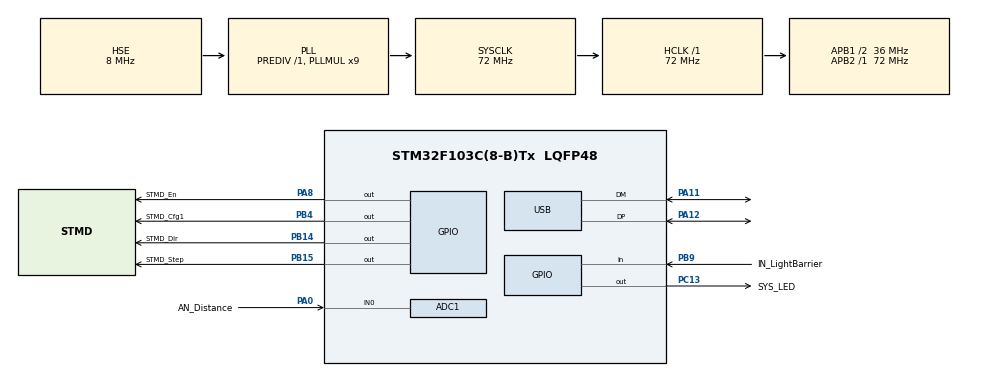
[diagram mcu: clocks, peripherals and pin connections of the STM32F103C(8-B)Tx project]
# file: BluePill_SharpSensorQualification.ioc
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ADC1.Channel-54\#ChannelRegularConversion=ADC_CHANNEL_0
ADC1.ContinuousConvMode=DISABLE
ADC1.DataAlign=ADC_DATAALIGN_RIGHT
ADC1.DiscontinuousConvMode=DISABLE
ADC1.EnableAnalogWatchDog=false
ADC1.EnableRegularConversion=ENABLE
ADC1.ExternalTrigConv=ADC_EXTERNALTRIGCONV_T3_TRGO
ADC1.InjNumberOfConversion=0
ADC1.NbrOfConversion=1
ADC1.NbrOfConversionFlag=1
ADC1.Rank-54\#ChannelRegularConversion=1
ADC1.SamplingTime-54\#ChannelRegularConversion=ADC_SAMPLETIME_1CYCLE_5
ADC1.ScanConvMode=ADC_SCAN_DISABLE
ADC1.master=1
Dma.ADC1.0.Direction=DMA_PERIPH_TO_MEMORY
Dma.ADC1.0.Instance=DMA1_Channel1
Dma.ADC1.0.MemDataAlignment=DMA_MDATAALIGN_HALFWORD
Dma.ADC1.0.MemInc=DMA_MINC_ENABLE
Dma.ADC1.0.Mode=DMA_NORMAL
Dma.ADC1.0.PeriphDataAlignment=DMA_PDATAALIGN_HALFWORD
Dma.ADC1.0.PeriphInc=DMA_PINC_DISABLE
Dma.ADC1.0.Priority=DMA_PRIORITY_HIGH
Dma.Request0=ADC1
FREERTOS.INCLUDE_vTaskDelayUntil=1
FREERTOS.Queues01=xQSensorToMain,3,T_MQ_Command,0,Dynamic,NULL,NULL;xQMainToSTMD,3,T_MQ_Command,0,Dynamic,NULL,NULL;xQSTMDToMain,3,T_MQ_Command,0,Dynamic,NULL,NULL;xQMainToCOM,3,T_MQ_Command,0,Dynamic,NULL,NULL;xQCOMToMain,3,T_MQ_Command,0,Dynamic,NULL,NULL
FREERTOS.Tasks01=Main_Task,0,1024,MainTaskWork,Default,NULL,Dynamic,NULL,NULL;COM_Task,0,512,COMTaskWork,Default,NULL,Dynamic,NULL,NULL;SMTD_Task,0,256,SMTDWork,Default,NULL,Dynamic,NULL,NULL
FREERTOS.configTOTAL_HEAP_SIZE=9216
Mcu.Family=STM32F1
Mcu.Name=STM32F103C(8-B)Tx
Mcu.Package=LQFP48
NVIC.DMA1_Channel1_IRQn=true\:5\:0\:false\:false\:true\:true\:false
NVIC.PriorityGroup=NVIC_PRIORITYGROUP_4
NVIC.TIM1_UP_IRQn=true\:0\:0\:false\:false\:true\:false\:false
NVIC.TIM3_IRQn=true\:5\:0\:false\:false\:true\:true\:true
NVIC.TimeBase=TIM1_UP_IRQn
NVIC.TimeBaseIP=TIM1
NVIC.USB_LP_CAN1_RX0_IRQn=true\:5\:0\:false\:false\:true\:true\:false
PA0-WKUP.GPIO_Label=AN_Distance
PA0-WKUP.Signal=ADCx_IN0
PA11.Mode=Device
PA11.Signal=USB_DM
PA12.Mode=Device
PA12.Signal=USB_DP
PA13.Mode=Serial_Wire
PA13.Signal=SYS_JTMS-SWDIO
PA14.Mode=Serial_Wire
PA14.Signal=SYS_JTCK-SWCLK
PA8.GPIO_Label=STMD_En
PA8.PinState=GPIO_PIN_SET
PA8.Signal=GPIO_Output
PB14.GPIO_Label=STMD_Dir
PB14.Signal=GPIO_Output
PB15.GPIO_Label=STMD_Step
PB15.Signal=GPIO_Output
PB4.GPIO_Label=STMD_Cfg1
PB4.Signal=GPIO_Output
PB9.GPIO_Label=IN_LightBarrier
PB9.Signal=GPIO_Input
PC13-TAMPER-RTC.GPIO_Label=SYS_LED
PC13-TAMPER-RTC.PinState=GPIO_PIN_SET
PC13-TAMPER-RTC.Signal=GPIO_Output
PC14-OSC32_IN.Mode=LSE-External-Oscillator
PC14-OSC32_IN.Signal=RCC_OSC32_IN
PC15-OSC32_OUT.Mode=LSE-External-Oscillator
PC15-OSC32_OUT.Signal=RCC_OSC32_OUT
PD0-OSC_IN.Mode=HSE-External-Oscillator
PD0-OSC_IN.Signal=RCC_OSC_IN
PD1-OSC_OUT.Mode=HSE-External-Oscillator
PD1-OSC_OUT.Signal=RCC_OSC_OUT
ProjectManager.HeapSize=0x200
ProjectManager.StackSize=0x400
ProjectManager.TargetToolchain=SW4STM32
RCC.ADCPresc=RCC_ADCPCLK2_DIV6
RCC.AHBFreq_Value=72000000
RCC.APB1CLKDivider=RCC_HCLK_DIV2
RCC.APB1Freq_Value=36000000
RCC.APB1TimFreq_Value=72000000
RCC.APB2Freq_Value=72000000
RCC.APB2TimFreq_Value=72000000
RCC.HCLKFreq_Value=72000000
RCC.PLLMUL=RCC_PLL_MUL9
RCC.SYSCLKFreq_VALUE=72000000
RCC.SYSCLKSource=RCC_SYSCLKSOURCE_PLLCLK
RCC.USBFreq_Value=48000000
RCC.USBPrescaler=RCC_USBCLKSOURCE_PLL_DIV1_5
SH.ADCx_IN0.0=ADC1_IN0,IN0
TIM3.Period=36000
TIM3.Prescaler=2
TIM3.TIM_MasterOutputTrigger=TIM_TRGO_UPDATE
USB_DEVICE.CLASS_NAME_FS=CDC
USB_DEVICE.VirtualMode=Cdc
USB_DEVICE.VirtualModeFS=Cdc_FS
VP_FREERTOS_VS_ENABLE.Mode=Enabled
VP_SYS_VS_tim1.Mode=TIM1
VP_TIM3_VS_ClockSourceINT.Mode=Internal
VP_USB_DEVICE_VS_USB_DEVICE_CDC_FS.Mode=CDC_FS
board=custom

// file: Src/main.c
/**
  ******************************************************************************
  * @file           : main.c
  * @brief          : Main program body
  ******************************************************************************
  * This notice applies to any and all portions of this file
  * that are not between comment pairs USER CODE BEGIN and
  * USER CODE END. Other portions of this file, whether
  * inserted by the user or by software development tools
  * are owned by their respective copyright owners.
  *
  * Copyright (c) 2018 STMicroelectronics International N.V.
  * All rights reserved.
  *
  * Redistribution and use in source and binary forms, with or without
  * modification, are permitted, provided that the following conditions are met:
  *
  * 1. Redistribution of source code must retain the above copyright notice,
  *    this list of conditions and the following disclaimer.
  * 2. Redistributions in binary form must reproduce the above copyright notice,
  *    this list of conditions and the following disclaimer in the documentation
  *    and/or other materials provided with the distribution.
  * 3. Neither the name of STMicroelectronics nor the names of other
  *    contributors to this software may be used to endorse or promote products
  *    derived from this software without specific written permission.
  * 4. This software, including modifications and/or derivative works of this
  *    software, must execute solely and exclusively on microcontroller or
  *    microprocessor devices manufactured by or for STMicroelectronics.
  * 5. Redistribution and use of this software other than as permitted under
  *    this license is void and will automatically terminate your rights under
  *    this license.
  *
  * THIS SOFTWARE IS PROVIDED BY STMICROELECTRONICS AND CONTRIBUTORS "AS IS"
  * AND ANY EXPRESS, IMPLIED OR STATUTORY WARRANTIES, INCLUDING, BUT NOT
  * LIMITED TO, THE IMPLIED WARRANTIES OF MERCHANTABILITY, FITNESS FOR A
  * PARTICULAR PURPOSE AND NON-INFRINGEMENT OF THIRD PARTY INTELLECTUAL PROPERTY
  * RIGHTS ARE DISCLAIMED TO THE FULLEST EXTENT PERMITTED BY LAW. IN NO EVENT
  * SHALL STMICROELECTRONICS OR CONTRIBUTORS BE LIABLE FOR ANY DIRECT, INDIRECT,
  * INCIDENTAL, SPECIAL, EXEMPLARY, OR CONSEQUENTIAL DAMAGES (INCLUDING, BUT NOT
  * LIMITED TO, PROCUREMENT OF SUBSTITUTE GOODS OR SERVICES; LOSS OF USE, DATA,
  * OR PROFITS; OR BUSINESS INTERRUPTION) HOWEVER CAUSED AND ON ANY THEORY OF
  * LIABILITY, WHETHER IN CONTRACT, STRICT LIABILITY, OR TORT (INCLUDING
  * NEGLIGENCE OR OTHERWISE) ARISING IN ANY WAY OUT OF THE USE OF THIS SOFTWARE,
  * EVEN IF ADVISED OF THE POSSIBILITY OF SUCH DAMAGE.
  *
  ******************************************************************************
  */
#include "main.h"
#include "stm32f1xx_hal.h"
#include "cmsis_os.h"
#include "usb_device.h"

/* USER CODE BEGIN Includes */
#include "usbd_cdc_if.h"
//#include "STMDriver.h"
/* USER CODE END Includes */

ADC_HandleTypeDef hadc1;
DMA_HandleTypeDef hdma_adc1;

TIM_HandleTypeDef htim3;

osThreadId Main_TaskHandle;
osThreadId COM_TaskHandle;
osThreadId SMTD_TaskHandle;
osMessageQId xQSensorToMainHandle;
osMessageQId xQMainToSTMDHandle;
osMessageQId xQSTMDToMainHandle;
osMessageQId xQMainToCOMHandle;
osMessageQId xQCOMToMainHandle;

/* USER CODE BEGIN PV */
/* Private variables ---------------------------------------------------------*/
extern uint8_t received_data[100];
extern uint32_t received_data_size;
/* USER CODE END PV */

void SystemClock_Config(void);
static void MX_GPIO_Init(void);
static void MX_DMA_Init(void);
static void MX_ADC1_Init(void);
static void MX_TIM3_Init(void);
void MainTaskWork(void const * argument);
void COMTaskWork(void const * argument);
void SMTDWork(void const * argument);

/* USER CODE BEGIN PFP */
/* Private function prototypes -----------------------------------------------*/

/* USER CODE END PFP */

/* USER CODE BEGIN 0 */

#define ADCCONVERTEDVALUES_BUFFER_SIZE ((uint32_t) 100)     /* Size of array containing ADC converted values */
/* Variable containing ADC conversions results */
__IO uint16_t au16ADCValues[ADCCONVERTEDVALUES_BUFFER_SIZE];

/* definition of commands passed between tasks */
typedef enum eMQ_CommandList
{
	eCMD_None = 0,
	eCMD_Rejected,
	eCMD_Accepted,
	eCMD_PerformHoming,
	eCMD_StaticMeasurement,
	eCMD_FullScanMeasurement,
	eCMD_PartialScanMeasurement,
	eCMD_ContinousScanMeasurment,
	eCMD_SampleSensor,
	eCMD_SensorValueReady,
	eCMD_PerformStep,
	eCMD_MoveToAngle,
	eCMD_PrintSTMDConfig,
	eCMD_SetAngleResolution,
	eCMD_SetStepResolution,
	eCMD_LimitSwitchHit,
	eCMD_Abort,
	eCMD_StartTestMode
}T_MQ_CommandList;

/* structure to hold commands and their parameters which will be passed between tasks */
typedef struct strMQ_Command
{
	T_MQ_CommandList xMQ_Cmd;
	int32_t i32MQ_Cmd_ParamA;
	int32_t i32MQ_Cmd_ParamB;
	int32_t i32MQ_Cmd_ParamC;
}T_MQ_Command;

#define DIST_SENSOR_SAMPLING_CNT	100

#define LINBUFFSIZE		100
typedef struct strBuffer
{
	uint32_t au32Buffer[LINBUFFSIZE];
	uint16_t u16BufferWriteIdx;
	uint16_t u16BufferFree;
}T_LinearBuffer;

T_LinearBuffer xLinearBuffer_1;
T_LinearBuffer xLinearBuffer_2;
T_LinearBuffer * pxLinearBufferActive;
T_LinearBuffer * pxLinearBufferReadyForTx;

void LinearBufferFlush(T_LinearBuffer * pxLinBuff)
{
	/* preset buffer with zeros */
	for(pxLinBuff->u16BufferWriteIdx=0;pxLinBuff->u16BufferWriteIdx<LINBUFFSIZE;pxLinBuff->u16BufferWriteIdx++)
	{
		pxLinBuff->au32Buffer[pxLinBuff->u16BufferWriteIdx] = 0;
	}

	/* preset variables */
	pxLinBuff->u16BufferFree = LINBUFFSIZE;
	pxLinBuff->u16BufferWriteIdx = 0;
}

uint8_t u08LinearBufferPush(T_LinearBuffer * pxLinBuff, uint32_t u32Value)
{
	if(0 < pxLinBuff->u16BufferFree)
	{
		pxLinBuff->au32Buffer[pxLinBuff->u16BufferWriteIdx] = u32Value;
		pxLinBuff->u16BufferWriteIdx++;
		pxLinBuff->u16BufferFree--;
		return 1;
	}
	else
	{
		return 0;
	}
}

void Init_Linear_Buffers(void)
{
	/* flush linear buffers */
	LinearBufferFlush(&xLinearBuffer_1);
	LinearBufferFlush(&xLinearBuffer_2);
	/* assign linear buffer pointer */
	pxLinearBufferActive = & xLinearBuffer_1;
	pxLinearBufferReadyForTx = 0;
}

typedef enum eSystemMode
{
	eSysMode_StartUp = 0,
	eSysMode_Idle,
	eSysMode_Tx,
	eSysMode_FullScan,
	eSysMode_PartialScan,
	eSysMode_ContinousScan,
	eSysMode_StaticScan,
	eSysMode_Homing,
	eSysMode_MoveToAngle,
	eSysMode_TestMode
}T_System_Mode;

T_System_Mode xSysMode = eSysMode_Idle; //TODO: change to start up

#define STMD_ROTATION_INC_COARSE	  45000L
#define STMD_ROTATION_INC_FINE		  22500L
#define STMD_ROTATION_360DEG		3600000L

#define STMD_STEP_INC_COARSE	4500L
#define STMD_STEP_INC_FINE		1125L

typedef enum eSTMD_RetVals
{
	eSTMD_Err = 0,
	eSTMD_Ok
}T_STMD_RetVals;

typedef enum eSTMD_StepResolution
{
	eSTMD_StepRes_Coarse = 0,
	eSTMD_StepRes_Fine
}T_STMD_StepResolution;

typedef enum eSTMD_StepDirection
{
	eSTMD_CW = 0,
	eSTMD_CCW
}T_STMD_StepDirection;

typedef struct strSTMD_PinConfig
{
	GPIO_TypeDef *xSTMD_GPIO_Port_Pin_Enable;
	GPIO_TypeDef *xSTMD_GPIO_Port_Pin_Cfg1;
	GPIO_TypeDef * xSTMD_GPIO_Port_Pin_Step;
	GPIO_TypeDef *xSTMD_GPIO_Port_Pin_Dir;
	uint16_t u16STMD_GPIO_Pin_Enable;
	uint16_t u16STMD_GPIO_Pin_Cfg1;
	uint16_t u16STMD_GPIO_Pin_Step;
	uint16_t u16STMD_GPIO_Pin_Dir;
}T_STMD_PinConfig;

typedef struct strSTMD_Rotation
{
	int32_t i32STMD_CurrentAngle;
	int32_t i32STMD_MaxAngle;
	int32_t i32STMD_AngleIncrement;
	int32_t i32STMD_StepIncrement;
	T_STMD_StepResolution xStepResolution;
	T_STMD_StepDirection xStepDirection;
}T_STMD_Rotation;

typedef struct strSTMD_Config
{
	T_STMD_PinConfig xSTMD_PinConfig;
	T_STMD_Rotation xSTMD_Rotation;
}T_STMD_Config;

T_STMD_Config xSTMD_Config;

void enableDriver(void)
{
	/* for readability */
	T_STMD_PinConfig * pxPinCfg = &xSTMD_Config.xSTMD_PinConfig;

	HAL_GPIO_WritePin(pxPinCfg->xSTMD_GPIO_Port_Pin_Enable,pxPinCfg->u16STMD_GPIO_Pin_Enable, GPIO_PIN_RESET);
}

void setStepResolution(T_STMD_StepResolution xStepRes)
{
	/* for readability */
	T_STMD_PinConfig * pxPinCfg = &xSTMD_Config.xSTMD_PinConfig;

	if(eSTMD_StepRes_Fine == xStepRes)
	{
		HAL_GPIO_WritePin(pxPinCfg->xSTMD_GPIO_Port_Pin_Cfg1,pxPinCfg->u16STMD_GPIO_Pin_Cfg1,GPIO_PIN_RESET);
		xSTMD_Config.xSTMD_Rotation.i32STMD_StepIncrement = STMD_STEP_INC_FINE;
	}
	else if(eSTMD_StepRes_Coarse == xStepRes)
	{
		HAL_GPIO_WritePin(pxPinCfg->xSTMD_GPIO_Port_Pin_Cfg1,pxPinCfg->u16STMD_GPIO_Pin_Cfg1,GPIO_PIN_SET);
		xSTMD_Config.xSTMD_Rotation.i32STMD_StepIncrement = STMD_STEP_INC_COARSE;
	}
}

T_STMD_RetVals xSTMD_SetConfig(T_STMD_Config * pxSTMD_Config)
{
	/* assign configuration */
	/* pin configuration */
	xSTMD_Config.xSTMD_PinConfig = pxSTMD_Config->xSTMD_PinConfig;
	/* rotation */
	/* verify settings */
	//if((STMD_ROTATION_INC_FINE == pxSTMD_Config->xSTMD_Rotation.i32STMD_AngleIncrement) ||
	//		(STMD_ROTATION_INC_COARSE == pxSTMD_Config->xSTMD_Rotation.i32STMD_AngleIncrement))
	if(eSTMD_StepRes_Coarse == pxSTMD_Config->xSTMD_Rotation.xStepResolution)
	{
		xSTMD_Config.xSTMD_Rotation.i32STMD_AngleIncrement = STMD_ROTATION_INC_COARSE;
		xSTMD_Config.xSTMD_Rotation.i32STMD_StepIncrement = STMD_STEP_INC_COARSE;
	}
	else if(eSTMD_StepRes_Fine == pxSTMD_Config->xSTMD_Rotation.xStepResolution)
	{
		xSTMD_Config.xSTMD_Rotation.i32STMD_AngleIncrement = STMD_ROTATION_INC_FINE;
		xSTMD_Config.xSTMD_Rotation.i32STMD_StepIncrement = STMD_STEP_INC_FINE;
	}
	else
	{
		return eSTMD_Err;
	}

	if((0 < pxSTMD_Config->xSTMD_Rotation.i32STMD_MaxAngle) &&
			(STMD_ROTATION_360DEG >= pxSTMD_Config->xSTMD_Rotation.i32STMD_MaxAngle))
	{
		xSTMD_Config.xSTMD_Rotation.i32STMD_MaxAngle = pxSTMD_Config->xSTMD_Rotation.i32STMD_MaxAngle;
	}
	else
	{
		return eSTMD_Err;
	}
	xSTMD_Config.xSTMD_Rotation.i32STMD_CurrentAngle = 0;

	enableDriver();

	/* return success */
	return eSTMD_Ok;
}

void xSTMD_PrintConfig(char * pConfigString)
{
	int32_t i32Idx=0;

	/* Angle per Step */
	i32Idx = sprintf(pConfigString, "Angle inc. per step: %li\n",xSTMD_Config.xSTMD_Rotation.i32STMD_StepIncrement);
	pConfigString+=i32Idx;
	/* Angle increment */
	i32Idx = sprintf(pConfigString,"Angle inc.: %li\n",xSTMD_Config.xSTMD_Rotation.i32STMD_AngleIncrement);
	pConfigString+=i32Idx;
	/* Current position */
	i32Idx = sprintf(pConfigString,"Current angle: %li\n",xSTMD_Config.xSTMD_Rotation.i32STMD_CurrentAngle);
	pConfigString+=i32Idx;
	/* Max Angle */
	i32Idx = sprintf(pConfigString,"Max. angle: %li\n",xSTMD_Config.xSTMD_Rotation.i32STMD_MaxAngle);
}

/* Function called at the end of a DMA ADC transfer */
void HAL_ADC_ConvCpltCallback(ADC_HandleTypeDef* hadc)
{
	/* DMA transfer completed => inform main task */
	T_MQ_Command xMainTaskCmd;
	BaseType_t bTaskWoken;

	if(0 != xQSensorToMainHandle)
	{
		xMainTaskCmd.xMQ_Cmd = eCMD_SensorValueReady;

		xQueueSendToBackFromISR(xQSensorToMainHandle, &xMainTaskCmd, &bTaskWoken);
	}
}

void SensorSamplingInit(uint16_t * pu16ADCValues)
{
	/* clear buffer */
	for(uint32_t u32Idx=0; u32Idx < ADCCONVERTEDVALUES_BUFFER_SIZE; u32Idx++)
	{
		pu16ADCValues[u32Idx] = 0;
	}
	/* start adc */
}

void SensorSamplingStart(void)
{
	/* (re)start ADC */
	if (HAL_ADC_Start_DMA(&hadc1, (uint32_t *)au16ADCValues, ADCCONVERTEDVALUES_BUFFER_SIZE) != HAL_OK)
	{
		/* Start Error */
		//  Error_Handler();
	}
}

uint32_t u32SensorSamplingGetAverage(uint16_t * pu16ADCValues)
{
	uint32_t u32ADCAverage = 0;

	for(uint32_t u32Idx=0; u32Idx < ADCCONVERTEDVALUES_BUFFER_SIZE; u32Idx++)
	{
		u32ADCAverage += pu16ADCValues[u32Idx];
		pu16ADCValues[u32Idx] = 0;
	}

	return u32ADCAverage / ADCCONVERTEDVALUES_BUFFER_SIZE;
}

/* USER CODE END 0 */

int main(void)
{
  /* USER CODE BEGIN 1 */
	Init_Linear_Buffers();

  /* USER CODE END 1 */

  /* MCU Configuration----------------------------------------------------------*/

  /* Reset of all peripherals, Initializes the Flash interface and the Systick. */
  HAL_Init();

  /* Configure the system clock */
  SystemClock_Config();

  /* Initialize all configured peripherals */
  MX_GPIO_Init();
  MX_DMA_Init();
  MX_ADC1_Init();
  MX_TIM3_Init();
  /* USER CODE BEGIN 2 */
  /* start TIM3, which will be triggering the ADC conversions */
  HAL_TIM_Base_Start_IT(&htim3);
  /* prepare ADC */
  SensorSamplingInit(&au16ADCValues[0]);
  /* configure stepper motor driver module */
  T_STMD_Config xConfig;
  xConfig.xSTMD_PinConfig.xSTMD_GPIO_Port_Pin_Enable = STMD_En_GPIO_Port;
  xConfig.xSTMD_PinConfig.u16STMD_GPIO_Pin_Enable = STMD_En_Pin;
  xConfig.xSTMD_PinConfig.xSTMD_GPIO_Port_Pin_Cfg1 = STMD_Cfg1_GPIO_Port;
  xConfig.xSTMD_PinConfig.u16STMD_GPIO_Pin_Cfg1 = STMD_Cfg1_Pin;
  xConfig.xSTMD_PinConfig.xSTMD_GPIO_Port_Pin_Dir = STMD_Dir_GPIO_Port;
  xConfig.xSTMD_PinConfig.u16STMD_GPIO_Pin_Dir = STMD_Dir_Pin;
  xConfig.xSTMD_PinConfig.xSTMD_GPIO_Port_Pin_Step = STMD_Step_GPIO_Port;
  xConfig.xSTMD_PinConfig.u16STMD_GPIO_Pin_Step = STMD_Step_Pin;
  xConfig.xSTMD_Rotation.i32STMD_CurrentAngle = 0;
  xConfig.xSTMD_Rotation.i32STMD_MaxAngle = STMD_ROTATION_360DEG;
  xConfig.xSTMD_Rotation.xStepDirection = eSTMD_CW;
  xConfig.xSTMD_Rotation.xStepResolution = eSTMD_StepRes_Fine;
  xSTMD_SetConfig(&xConfig);
  /* set resolution */
  setStepResolution(xConfig.xSTMD_Rotation.xStepResolution);
  /* USER CODE END 2 */

  /* Create the thread(s) */
  /* definition and creation of Main_Task */
  osThreadDef(Main_Task, MainTaskWork, osPriorityNormal, 0, 1024);
  Main_TaskHandle = osThreadCreate(osThread(Main_Task), NULL);

  /* definition and creation of COM_Task */
  osThreadDef(COM_Task, COMTaskWork, osPriorityNormal, 0, 512);
  COM_TaskHandle = osThreadCreate(osThread(COM_Task), NULL);

  /* definition and creation of SMTD_Task */
  osThreadDef(SMTD_Task, SMTDWork, osPriorityNormal, 0, 256);
  SMTD_TaskHandle = osThreadCreate(osThread(SMTD_Task), NULL);

  /* Create the queue(s) */
  /* definition and creation of xQSensorToMain */
/* what about the sizeof here??? cd native code */
  osMessageQDef(xQSensorToMain, 3, T_MQ_Command);
  xQSensorToMainHandle = osMessageCreate(osMessageQ(xQSensorToMain), NULL);

  /* definition and creation of xQMainToSTMD */
/* what about the sizeof here??? cd native code */
  osMessageQDef(xQMainToSTMD, 3, T_MQ_Command);
  xQMainToSTMDHandle = osMessageCreate(osMessageQ(xQMainToSTMD), NULL);

  /* definition and creation of xQSTMDToMain */
/* what about the sizeof here??? cd native code */
  osMessageQDef(xQSTMDToMain, 3, T_MQ_Command);
  xQSTMDToMainHandle = osMessageCreate(osMessageQ(xQSTMDToMain), NULL);

  /* definition and creation of xQMainToCOM */
/* what about the sizeof here??? cd native code */
  osMessageQDef(xQMainToCOM, 3, T_MQ_Command);
  xQMainToCOMHandle = osMessageCreate(osMessageQ(xQMainToCOM), NULL);

  /* definition and creation of xQCOMToMain */
/* what about the sizeof here??? cd native code */
  osMessageQDef(xQCOMToMain, 3, T_MQ_Command);
  xQCOMToMainHandle = osMessageCreate(osMessageQ(xQCOMToMain), NULL);

  /* Start scheduler */
  osKernelStart();

  /* We should never get here as control is now taken by the scheduler */

  /* Infinite loop */
  while (1)
  {

  }

}

void SystemClock_Config(void)
{

  RCC_OscInitTypeDef RCC_OscInitStruct;
  RCC_ClkInitTypeDef RCC_ClkInitStruct;
  RCC_PeriphCLKInitTypeDef PeriphClkInit;

    /**Initializes the CPU, AHB and APB busses clocks
    */
  RCC_OscInitStruct.OscillatorType = RCC_OSCILLATORTYPE_HSE;
  RCC_OscInitStruct.HSEState = RCC_HSE_ON;
  RCC_OscInitStruct.HSEPredivValue = RCC_HSE_PREDIV_DIV1;
  RCC_OscInitStruct.HSIState = RCC_HSI_ON;
  RCC_OscInitStruct.PLL.PLLState = RCC_PLL_ON;
  RCC_OscInitStruct.PLL.PLLSource = RCC_PLLSOURCE_HSE;
  RCC_OscInitStruct.PLL.PLLMUL = RCC_PLL_MUL9;
  if (HAL_RCC_OscConfig(&RCC_OscInitStruct) != HAL_OK)
  {
    _Error_Handler(__FILE__, __LINE__);
  }

    /**Initializes the CPU, AHB and APB busses clocks
    */
  RCC_ClkInitStruct.ClockType = RCC_CLOCKTYPE_HCLK|RCC_CLOCKTYPE_SYSCLK
                              |RCC_CLOCKTYPE_PCLK1|RCC_CLOCKTYPE_PCLK2;
  RCC_ClkInitStruct.SYSCLKSource = RCC_SYSCLKSOURCE_PLLCLK;
  RCC_ClkInitStruct.AHBCLKDivider = RCC_SYSCLK_DIV1;
  RCC_ClkInitStruct.APB1CLKDivider = RCC_HCLK_DIV2;
  RCC_ClkInitStruct.APB2CLKDivider = RCC_HCLK_DIV1;

  if (HAL_RCC_ClockConfig(&RCC_ClkInitStruct, FLASH_LATENCY_2) != HAL_OK)
  {
    _Error_Handler(__FILE__, __LINE__);
  }

  PeriphClkInit.PeriphClockSelection = RCC_PERIPHCLK_ADC|RCC_PERIPHCLK_USB;
  PeriphClkInit.AdcClockSelection = RCC_ADCPCLK2_DIV6;
  PeriphClkInit.UsbClockSelection = RCC_USBCLKSOURCE_PLL_DIV1_5;
  if (HAL_RCCEx_PeriphCLKConfig(&PeriphClkInit) != HAL_OK)
  {
    _Error_Handler(__FILE__, __LINE__);
  }

    /**Configure the Systick interrupt time
    */
  HAL_SYSTICK_Config(HAL_RCC_GetHCLKFreq()/1000);

    /**Configure the Systick
    */
  HAL_SYSTICK_CLKSourceConfig(SYSTICK_CLKSOURCE_HCLK);

  /* SysTick_IRQn interrupt configuration */
  HAL_NVIC_SetPriority(SysTick_IRQn, 15, 0);
}

/* ADC1 init function */
static void MX_ADC1_Init(void)
{

  ADC_ChannelConfTypeDef sConfig;

    /**Common config
    */
  hadc1.Instance = ADC1;
  hadc1.Init.ScanConvMode = ADC_SCAN_DISABLE;
  hadc1.Init.ContinuousConvMode = DISABLE;
  hadc1.Init.DiscontinuousConvMode = DISABLE;
  hadc1.Init.ExternalTrigConv = ADC_EXTERNALTRIGCONV_T3_TRGO;
  hadc1.Init.DataAlign = ADC_DATAALIGN_RIGHT;
  hadc1.Init.NbrOfConversion = 1;
  if (HAL_ADC_Init(&hadc1) != HAL_OK)
  {
    _Error_Handler(__FILE__, __LINE__);
  }

    /**Configure Regular Channel
    */
  sConfig.Channel = ADC_CHANNEL_0;
  sConfig.Rank = ADC_REGULAR_RANK_1;
  sConfig.SamplingTime = ADC_SAMPLETIME_1CYCLE_5;
  if (HAL_ADC_ConfigChannel(&hadc1, &sConfig) != HAL_OK)
  {
    _Error_Handler(__FILE__, __LINE__);
  }

}

/* TIM3 init function */
static void MX_TIM3_Init(void)
{

  TIM_ClockConfigTypeDef sClockSourceConfig;
  TIM_MasterConfigTypeDef sMasterConfig;

  htim3.Instance = TIM3;
  htim3.Init.Prescaler = 2;
  htim3.Init.CounterMode = TIM_COUNTERMODE_UP;
  htim3.Init.Period = 36000;
  htim3.Init.ClockDivision = TIM_CLOCKDIVISION_DIV1;
  htim3.Init.AutoReloadPreload = TIM_AUTORELOAD_PRELOAD_DISABLE;
  if (HAL_TIM_Base_Init(&htim3) != HAL_OK)
  {
    _Error_Handler(__FILE__, __LINE__);
  }

  sClockSourceConfig.ClockSource = TIM_CLOCKSOURCE_INTERNAL;
  if (HAL_TIM_ConfigClockSource(&htim3, &sClockSourceConfig) != HAL_OK)
  {
    _Error_Handler(__FILE__, __LINE__);
  }

  sMasterConfig.MasterOutputTrigger = TIM_TRGO_UPDATE;
  sMasterConfig.MasterSlaveMode = TIM_MASTERSLAVEMODE_DISABLE;
  if (HAL_TIMEx_MasterConfigSynchronization(&htim3, &sMasterConfig) != HAL_OK)
  {
    _Error_Handler(__FILE__, __LINE__);
  }

}

static void MX_DMA_Init(void)
{
  /* DMA controller clock enable */
  __HAL_RCC_DMA1_CLK_ENABLE();

  /* DMA interrupt init */
  /* DMA1_Channel1_IRQn interrupt configuration */
  HAL_NVIC_SetPriority(DMA1_Channel1_IRQn, 5, 0);
  HAL_NVIC_EnableIRQ(DMA1_Channel1_IRQn);

}

/** Configure pins as
        * Analog
        * Input
        * Output
        * EVENT_OUT
        * EXTI
*/
static void MX_GPIO_Init(void)
{

  GPIO_InitTypeDef GPIO_InitStruct;

  /* GPIO Ports Clock Enable */
  __HAL_RCC_GPIOC_CLK_ENABLE();
  __HAL_RCC_GPIOD_CLK_ENABLE();
  __HAL_RCC_GPIOA_CLK_ENABLE();
  __HAL_RCC_GPIOB_CLK_ENABLE();

  /*Configure GPIO pin Output Level */
  HAL_GPIO_WritePin(SYS_LED_GPIO_Port, SYS_LED_Pin, GPIO_PIN_SET);

  /*Configure GPIO pin Output Level */
  HAL_GPIO_WritePin(GPIOB, STMD_Dir_Pin|STMD_Step_Pin|STMD_Cfg1_Pin, GPIO_PIN_RESET);

  /*Configure GPIO pin Output Level */
  HAL_GPIO_WritePin(STMD_En_GPIO_Port, STMD_En_Pin, GPIO_PIN_SET);

  /*Configure GPIO pin : SYS_LED_Pin */
  GPIO_InitStruct.Pin = SYS_LED_Pin;
  GPIO_InitStruct.Mode = GPIO_MODE_OUTPUT_PP;
  GPIO_InitStruct.Pull = GPIO_NOPULL;
  GPIO_InitStruct.Speed = GPIO_SPEED_FREQ_LOW;
  HAL_GPIO_Init(SYS_LED_GPIO_Port, &GPIO_InitStruct);

  /*Configure GPIO pins : STMD_Dir_Pin STMD_Step_Pin STMD_Cfg1_Pin */
  GPIO_InitStruct.Pin = STMD_Dir_Pin|STMD_Step_Pin|STMD_Cfg1_Pin;
  GPIO_InitStruct.Mode = GPIO_MODE_OUTPUT_PP;
  GPIO_InitStruct.Pull = GPIO_NOPULL;
  GPIO_InitStruct.Speed = GPIO_SPEED_FREQ_LOW;
  HAL_GPIO_Init(GPIOB, &GPIO_InitStruct);

  /*Configure GPIO pin : STMD_En_Pin */
  GPIO_InitStruct.Pin = STMD_En_Pin;
  GPIO_InitStruct.Mode = GPIO_MODE_OUTPUT_PP;
  GPIO_InitStruct.Pull = GPIO_NOPULL;
  GPIO_InitStruct.Speed = GPIO_SPEED_FREQ_LOW;
  HAL_GPIO_Init(STMD_En_GPIO_Port, &GPIO_InitStruct);

  /*Configure GPIO pin : IN_LightBarrier_Pin */
  GPIO_InitStruct.Pin = IN_LightBarrier_Pin;
  GPIO_InitStruct.Mode = GPIO_MODE_INPUT;
  GPIO_InitStruct.Pull = GPIO_NOPULL;
  HAL_GPIO_Init(IN_LightBarrier_GPIO_Port, &GPIO_InitStruct);

}

/* USER CODE BEGIN 4 */
#define  SERIAL_CMD_MAX_LENGTH	20
typedef struct USB_RX_Command_Struct
{
	uint8_t u08CommandReceived;
	uint8_t u08WriteIdx;
	uint8_t u08FreeBytes;
	uint8_t au08CommandBuffer[SERIAL_CMD_MAX_LENGTH];
}T_USB_RX_Command;
T_USB_RX_Command xUartRxCmd;

void FlushRxCmd(void)
{
	xUartRxCmd.u08CommandReceived = 0;
	xUartRxCmd.u08WriteIdx = 0;
	for(uint8_t u08Idx=0; u08Idx < sizeof(xUartRxCmd.au08CommandBuffer); u08Idx++)
	{
	  xUartRxCmd.au08CommandBuffer[u08Idx] = 0;
	}
	xUartRxCmd.u08FreeBytes = SERIAL_CMD_MAX_LENGTH;

	received_data_size = 0;
	for(uint8_t u08FlushIdx=0; u08FlushIdx<100;u08FlushIdx++)
	{
		received_data[u08FlushIdx]=0;
	}
}

T_MQ_Command AnalyseRxCmd(void)
{
	char * cmd_perform_partial_scan = "PSCAN %d %d %d";
	char * cmd_perform_continuous_scan = "CSCAN %d";
	char * cmd_perform_full_scan = "FSCAN";
	char * cmd_sample_distance_sensor = "DISTCONV";
	char * cmd_sample_distance_sensor_N = "DISTNCONV %d";
	char * cmd_stop_sample_distance_sensor = "STOPDISTCONV";
	char * cmd_print_stmd_config = "CSTMD";
	char * cmd_set_angle_resolution = "ANGLERES %d";
	char * cmd_set_step_resolution = "STEPRES %d";
	char * cmd_goto_position = "POS %d";
	char * cmd_perform_homing = "HOME";
	char * cmd_perform_testmode = "TEST";
	char * cmd_abort = "ABORT";

	T_MQ_Command xRetVal;
	xRetVal.xMQ_Cmd = eCMD_None;

	int32_t i32Param = 0;
	int32_t i32ParamB = 0;
	int32_t i32ParamC = 0;

	/* analyse received command	*/
	if(0 == strcmp((const char *)&xUartRxCmd.au08CommandBuffer[0], cmd_abort))
		{
			xRetVal.xMQ_Cmd = eCMD_Abort;
		}
	else if(0 < sscanf((const char *)&xUartRxCmd.au08CommandBuffer[0], cmd_perform_partial_scan,&i32Param,&i32ParamB, &i32ParamC))
	{
		/* perform partial scan from angle i32ParamB to i32ParamC and take i32Param samples at each angle */
		xRetVal.xMQ_Cmd = eCMD_PartialScanMeasurement;
		xRetVal.i32MQ_Cmd_ParamA = i32Param;
		xRetVal.i32MQ_Cmd_ParamB = i32ParamB;
		xRetVal.i32MQ_Cmd_ParamC = i32ParamC;
	}
	else if(0 < sscanf((const char *)&xUartRxCmd.au08CommandBuffer[0], cmd_set_angle_resolution,&i32Param))
	{
		xRetVal.xMQ_Cmd = eCMD_SetAngleResolution;
		xRetVal.i32MQ_Cmd_ParamA = i32Param;
	}
	else if(0 < sscanf((const char *)&xUartRxCmd.au08CommandBuffer[0], cmd_set_step_resolution,&i32Param))
	{
		xRetVal.xMQ_Cmd = eCMD_SetStepResolution;
		xRetVal.i32MQ_Cmd_ParamA = i32Param;
	}
	else if(0 < sscanf((const char *)&xUartRxCmd.au08CommandBuffer[0], cmd_goto_position,&i32Param))
	{
		xRetVal.xMQ_Cmd = eCMD_MoveToAngle;
		xRetVal.i32MQ_Cmd_ParamA = i32Param;
	}
	else if(0 == strcmp((const char *)&xUartRxCmd.au08CommandBuffer[0], cmd_perform_homing))
	{
		xRetVal.xMQ_Cmd = eCMD_PerformHoming;
	}
	else if(0 == strcmp((const char *)&xUartRxCmd.au08CommandBuffer[0], cmd_perform_full_scan))
	{
		/* perform a full resolution scan */
		xRetVal.xMQ_Cmd = eCMD_FullScanMeasurement;
	}
	else if(0 < sscanf((const char *)&xUartRxCmd.au08CommandBuffer[0], cmd_perform_continuous_scan,&i32Param))
	{
		xRetVal.i32MQ_Cmd_ParamA = i32Param;
		xRetVal.xMQ_Cmd = eCMD_ContinousScanMeasurment;
	}
	else if(0 == strcmp((const char *)&xUartRxCmd.au08CommandBuffer[0], cmd_sample_distance_sensor))
	{
		/* request to continuously sample the sensor */
		xRetVal.xMQ_Cmd = eCMD_SampleSensor;
		xRetVal.i32MQ_Cmd_ParamA = -1;

	}
	else if(0 == strcmp((const char *)&xUartRxCmd.au08CommandBuffer[0], cmd_stop_sample_distance_sensor))
	{
		/* request to stop continously sampling the sensor */
		xRetVal.xMQ_Cmd = eCMD_Abort;

	}
	else if(0 < sscanf((const char *)&xUartRxCmd.au08CommandBuffer[0], cmd_sample_distance_sensor_N, &i32Param))
	{
		if(0 < i32Param){
			if(UINT16_MAX >= i32Param)
			{
				xRetVal.xMQ_Cmd = eCMD_SampleSensor;
				xRetVal.i32MQ_Cmd_ParamA = i32Param;
			}
		}
	}
	else if(0 == strcmp((const char *)&xUartRxCmd.au08CommandBuffer[0], cmd_print_stmd_config))
	{
		xRetVal.xMQ_Cmd = eCMD_PrintSTMDConfig;
	}
	else if(0 == strcmp((const char *)&xUartRxCmd.au08CommandBuffer[0], cmd_perform_testmode))
	{
		xRetVal.xMQ_Cmd = eCMD_StartTestMode;
	}
	return xRetVal;
}

uint8_t au08DataOutput[1500];

void Print_Sensor_Data(T_LinearBuffer * pxLinBuff)
{
	uint32_t u32Avg = 0;
	uint16_t u16StrIdx = 0;

	if(USBD_STATE_CONFIGURED == hUsbDeviceFS.dev_state)
	{
		/* calculate average */
		for(uint16_t u16Idx=0; u16Idx < LINBUFFSIZE; u16Idx++)
		{
			u32Avg += pxLinBuff->au32Buffer[u16Idx];
		}
		u32Avg /= LINBUFFSIZE;

		u16StrIdx += sprintf((char *)&au08DataOutput[u16StrIdx], "%li %ld\n", xSTMD_Config.xSTMD_Rotation.i32STMD_CurrentAngle, u32Avg);

		CDC_Transmit_FS(&au08DataOutput[0],strlen(au08DataOutput));
	}
}

void Print_Sensor_Data_Value(uint32_t u32SensorVal)
{
	uint16_t u16StrIdx = 0;

	if(USBD_STATE_CONFIGURED == hUsbDeviceFS.dev_state)
	{

		//u16StrIdx += sprintf((char *)&au08DataOutput[u16StrIdx], "%li %ld\n", xSTMD_Config.xSTMD_Rotation.i32STMD_CurrentAngle, u32SensorVal);
		u16StrIdx += sprintf((char *)&au08DataOutput[u16StrIdx], "%li %li\n", xSTMD_Config.xSTMD_Rotation.i32STMD_CurrentAngle, i32GetDistanceFromADCVal((uint16_t)u32SensorVal));

		CDC_Transmit_FS(&au08DataOutput[0],strlen(au08DataOutput));
	}
}

void Print_Test_Data_Value(uint16_t u16SensorVal)
{
	uint16_t u16StrIdx = 0;

	if(USBD_STATE_CONFIGURED == hUsbDeviceFS.dev_state)
	{

		//u16StrIdx += sprintf((char *)&au08DataOutput[u16StrIdx], "%li %ld\n", xSTMD_Config.xSTMD_Rotation.i32STMD_CurrentAngle, u16SensorVal);
		u16StrIdx += sprintf((char *)&au08DataOutput[u16StrIdx], "%d %li\n", u16SensorVal, i32GetDistanceFromADCVal(u16SensorVal));

		CDC_Transmit_FS(&au08DataOutput[0],strlen(au08DataOutput));
	}
}
void Print_Config(void)
{
	if(USBD_STATE_CONFIGURED == hUsbDeviceFS.dev_state)
	{
		/* get config */
		xSTMD_PrintConfig((char *)&au08DataOutput[0]);
		/* send */
		CDC_Transmit_FS(&au08DataOutput[0],strlen(au08DataOutput));
	}
}

typedef enum eWorkStates
{
	eWork_Abort = 0,
	eWork_Started,
	eWork_ReqMove,
	eWork_WaitMove,
	eWork_ReqSampling,
	eWork_WaitSampling,
	eWork_PrintData,
	eWork_Done,
	eWork_Idle,
	eWork_Moving,
	eWork_LimitSwitchHit
}T_WorkStates;

typedef enum eMove_LimitSwitch
{
	eMove_IgnoreLimitSwitch = 0,
	eMove_CheckLimitSwitch
}T_Move_LimitSwitch;

T_WorkStates xScanWork(T_WorkStates xWorkState, T_STMD_StepDirection xStepDir, int32_t i32StartAngle, int32_t i32StopAngle, uint16_t u16SampleCount)
{
	static int32_t si32NextAngle = 0;
	static uint16_t su16SCount = 0;
	static uint32_t u32SensorVal = 0;
	T_MQ_Command xMqCommand;

	switch (xWorkState) {
		case eWork_Started:
			/* verify given parameters */
			/* take over parameters */
			su16SCount = u16SampleCount;
			/* move to start angle */
			if(xSTMD_Config.xSTMD_Rotation.i32STMD_CurrentAngle != i32StartAngle)
			{
				/* request to move to angle */
				si32NextAngle = i32StartAngle;
				xWorkState = eWork_ReqMove;
			}
			else
			{
				/* already there */
				si32NextAngle = i32StartAngle;
				/* => directly request sensor sampling */
				xWorkState = eWork_ReqSampling;
			}
			/* determine the direction of turning */
			if(i32StartAngle <= i32StopAngle)
			{
				xSTMD_Config.xSTMD_Rotation.xStepDirection = eSTMD_CW;
			}
			else if(i32StartAngle > i32StopAngle)
			{
				xSTMD_Config.xSTMD_Rotation.xStepDirection = eSTMD_CCW;
			}
			break;
		case eWork_ReqMove:
			/* request to move to angle */
			if(0 != xQMainToSTMDHandle)
			{
				/* prepare command */
				xMqCommand.xMQ_Cmd = eCMD_MoveToAngle;
				xMqCommand.i32MQ_Cmd_ParamA = si32NextAngle;
				xMqCommand.i32MQ_Cmd_ParamB = eMove_IgnoreLimitSwitch;
				/* send command */
				if(pdPASS == xQueueSendToBack(xQMainToSTMDHandle,&xMqCommand,0))
				{
					/* wait for move to finish */
					xWorkState = eWork_WaitMove;
				}
				else
				{
					/* ERR: Item not put on queue */
					xWorkState = eWork_Abort;
				}
			}
			else
			{
				/* ERR: Queue not available */
				xWorkState = eWork_Abort;
			}
			break;
		case eWork_WaitMove:
			/* check for response of stepper motor driver task */
			/* Queue available ? */
			if(0 != xQSTMDToMainHandle)
			{
				if(pdPASS == xQueueReceive(xQSTMDToMainHandle,&xMqCommand, 0))
				{
					/* evaluate response */
					if(eCMD_Accepted == xMqCommand.xMQ_Cmd)
					{
						/* angle reached -> request sampling */
						xWorkState = eWork_ReqSampling;
					}
					else
					{
						/* ERR: Angle could not be reached */
						xWorkState = eWork_Abort;
					}
				}
				else
				{
					/* no message on the queue -> keep state */
					xWorkState = eWork_WaitMove;
					/*ToDo: error handling, if no message arrived after x seconds */
				}
			}
			else
			{
				/* ERR: Queue not available */
				xWorkState = eWork_Abort;
			}
			break;
		case eWork_ReqSampling:
			/* start sensor sampling */
			SensorSamplingStart();
			/* wait for sampling to finish */
			xWorkState = eWork_WaitSampling;
			break;
		case eWork_WaitSampling:
			/* check if sampling is done */
			if(0 != xQSensorToMainHandle)
			{
				if(pdPASS == xQueueReceive(xQSensorToMainHandle,&xMqCommand,0))
				{
					/* evaluate response */
					if(eCMD_SensorValueReady == xMqCommand.xMQ_Cmd)
					{
						/* get value */
						u32SensorVal = u32SensorSamplingGetAverage(&au16ADCValues[0]);
						xWorkState = eWork_PrintData;
					}
					else
					{
						/* sampling failed */
						xWorkState = eWork_Abort;
					}
				}
				else
				{
					/* no message on the queue -> keep state */
					xWorkState = eWork_WaitSampling;
					/*ToDo: error handling, if no message after x seconds */
				}
			}
			else
			{
				/* ERR: Queue not available */
				xWorkState = eWork_Abort;
			}
			break;
		case eWork_PrintData:
			/* print data */
			Print_Sensor_Data_Value(u32SensorVal);
			/* count sample */
			su16SCount--;
			if(0 != su16SCount)
			{
				/* take another sample at this position */
				xWorkState = eWork_ReqSampling;
			}
			else
			{
				/* sampling done for the current angle */
				su16SCount = u16SampleCount;
				/* check if end position was reached */
				if(eSTMD_CW == xSTMD_Config.xSTMD_Rotation.xStepDirection)
				{
					if(xSTMD_Config.xSTMD_Rotation.i32STMD_CurrentAngle < i32StopAngle)
					{
						/* set next angle */
						si32NextAngle = xSTMD_Config.xSTMD_Rotation.i32STMD_CurrentAngle + xSTMD_Config.xSTMD_Rotation.i32STMD_AngleIncrement;
						/* and request move */
						xWorkState = eWork_ReqMove;
					}
					else
					{
						/* stop */
						xWorkState = eWork_Done;
					}
				}
				else
				{
					if(xSTMD_Config.xSTMD_Rotation.i32STMD_CurrentAngle > i32StopAngle)
					{
						/* set next angle */
						si32NextAngle = xSTMD_Config.xSTMD_Rotation.i32STMD_CurrentAngle - xSTMD_Config.xSTMD_Rotation.i32STMD_AngleIncrement;
						/* and request move */
						xWorkState = eWork_ReqMove;
					}
					else
					{
						/* stop */
						xWorkState = eWork_Done;
					}
				}
			}
			break;
		case eWork_Done:
			/* switch back to idle */
			xWorkState = eWork_Started;
			break;
		case eWork_Abort:
		default:
			break;
	}
	return xWorkState;
}

T_WorkStates xMoveWork(T_WorkStates xWorkState, int32_t i32TargetAngle, T_Move_LimitSwitch xLimitSwitch)
{
	/* for readability */
	T_STMD_Rotation * pxRotation = &xSTMD_Config.xSTMD_Rotation;

	T_MQ_Command xMqCommand;

	switch (xWorkState) {
		case eWork_Started:
			/* check if move is needed */
			if(i32TargetAngle == pxRotation->i32STMD_CurrentAngle)
			{
				/* done */
				xWorkState = eWork_Done;
			}
			else
			{
				/* request move */
				xWorkState = eWork_ReqMove;
			}
			break;
		case eWork_ReqMove:
			/* request to move to angle */
			if(0 != xQMainToSTMDHandle)
			{
				/* prepare command */
				xMqCommand.xMQ_Cmd = eCMD_MoveToAngle;
				xMqCommand.i32MQ_Cmd_ParamA = i32TargetAngle;
				xMqCommand.i32MQ_Cmd_ParamB = xLimitSwitch;
				/* send command */
				if(pdPASS == xQueueSendToBack(xQMainToSTMDHandle,&xMqCommand,0))
				{
					/* wait for move to finish */
					xWorkState = eWork_WaitMove;
				}
				else
				{
					/* ERR: Item not put on queue */
					xWorkState = eWork_Abort;
				}
			}
			else
			{
				/* ERR: Queue not available */
				xWorkState = eWork_Abort;
			}
			break;
		case eWork_WaitMove:
			/* check for response of stepper motor driver task */
			/* Queue available ? */
			if(0 != xQSTMDToMainHandle)
			{
				if(pdPASS == xQueueReceive(xQSTMDToMainHandle,&xMqCommand, 0))
				{
					/* evaluate response */
					if(eCMD_Accepted == xMqCommand.xMQ_Cmd)
					{
						/* angle reached -> done */
						xWorkState = eWork_Done;
					}
					else if(eCMD_LimitSwitchHit == xMqCommand.xMQ_Cmd)
					{
						/* ran into limit switch */
						xWorkState = eWork_LimitSwitchHit;
					}
					else
					{
						/* ERR: Angle could not be reached */
						xWorkState = eWork_Abort;
					}
				}
				else
				{
					/* no message on the queue -> keep state */
					xWorkState = eWork_WaitMove;
					/*ToDo: error handling, if no message arrived after x seconds */
				}
			}
			else
			{
				/* ERR: Queue not available */
				xWorkState = eWork_Abort;
			}
			break;
		default:
			//xWorkState = eWork_Started;
			break;
	}

	return xWorkState;
}

T_WorkStates xSTMD_PerformStepping(T_STMD_StepDirection xStepDir, int32_t i32StepCnt, T_Move_LimitSwitch xLimitSwitch)
{
	T_WorkStates xRetVal = eWork_Done;
	/* for readability */
	T_STMD_Rotation * pxRotation = &xSTMD_Config.xSTMD_Rotation;
	T_STMD_PinConfig * pxPinCfg = &xSTMD_Config.xSTMD_PinConfig;
	GPIO_PinState xLimitSwitchState1 = GPIO_PIN_SET;
	GPIO_PinState xLimitSwitchState2 = GPIO_PIN_SET;

	#define RAMPUP_LENGTH	6
	uint8_t au08RampUp[RAMPUP_LENGTH] ={20, 17, 12, 7, 6, 5};
	uint8_t u08RampUpIdx=RAMPUP_LENGTH;

	/* 1.) choose in which direction to step */
	if(eSTMD_CW == pxRotation->xStepDirection)
	{
		/* set direction */
		HAL_GPIO_WritePin(pxPinCfg->xSTMD_GPIO_Port_Pin_Dir, pxPinCfg->u16STMD_GPIO_Pin_Dir, GPIO_PIN_RESET);
	}
	else
	{
		/* set direction */
		HAL_GPIO_WritePin(pxPinCfg->xSTMD_GPIO_Port_Pin_Dir, pxPinCfg->u16STMD_GPIO_Pin_Dir, GPIO_PIN_SET);
	}

	/* 2.) perform stepping */
	while(0 < i32StepCnt)
	{
		/* step */
		HAL_GPIO_WritePin(pxPinCfg->xSTMD_GPIO_Port_Pin_Step, pxPinCfg->u16STMD_GPIO_Pin_Step, GPIO_PIN_SET);
		osDelay(au08RampUp[RAMPUP_LENGTH - u08RampUpIdx]);
		HAL_GPIO_WritePin(pxPinCfg->xSTMD_GPIO_Port_Pin_Step, pxPinCfg->u16STMD_GPIO_Pin_Step, GPIO_PIN_RESET);
		xLimitSwitchState1 = HAL_GPIO_ReadPin(IN_LightBarrier_GPIO_Port,IN_LightBarrier_Pin);
		osDelay(au08RampUp[RAMPUP_LENGTH - u08RampUpIdx]);
		/* count step */
		i32StepCnt--;
		/* adjust current angle */
		pxRotation->i32STMD_CurrentAngle += pxRotation->i32STMD_StepIncrement;
		/* speed control */
		if(u08RampUpIdx)
		{
			u08RampUpIdx--;
		}
		else
		{
			u08RampUpIdx = 1;
		}
		if(eMove_CheckLimitSwitch == xLimitSwitch)
		{
			/* check if limit switch was hit */
			xLimitSwitchState2 = HAL_GPIO_ReadPin(IN_LightBarrier_GPIO_Port,IN_LightBarrier_Pin);
			if(xLimitSwitchState2 == xLimitSwitchState1)
			{
				if(GPIO_PIN_SET == xLimitSwitchState2)
				{
					/* limit switch hit */
					xRetVal = eWork_LimitSwitchHit;
					break;
				}
			}
		}
	}
	return xRetVal;
}

/* USER CODE END 4 */

/* MainTaskWork function */
void MainTaskWork(void const * argument)
{
  /* init code for USB_DEVICE */
  MX_USB_DEVICE_Init();

  /* USER CODE BEGIN 5 */
	TickType_t xLastWakeTime;
	const TickType_t xFrequency = 10; // every 25 ms

	BaseType_t xMQRetVal;
	T_MQ_Command xMqCmd;
	T_MQ_Command xMqCOMCmd;

	static int32_t si32StartAngle, si32StopAngle;
	static uint16_t su16SampleCount;
	volatile T_WorkStates xWorkTaskResponse =  eWork_Started;

//	T_WorkStates xMoveWorkState = eWork_Started;

	// Initialise the xLastWakeTime variable with the current time.
	xLastWakeTime = xTaskGetTickCount();

	uint8_t u08SampleSensorRQ = 0;

  /* Infinite loop */
	for(;;)
	{
		/* create fixed frequency task calling */
		vTaskDelayUntil(&xLastWakeTime, xFrequency);

		/* check for incoming COM message */
		if(0 != xQCOMToMainHandle)
		{
			/* preload message */
			xMqCOMCmd.xMQ_Cmd = eCMD_None;
			/* check for new message */
			xQueueReceive(xQCOMToMainHandle, &xMqCOMCmd,0);
		}

		/* check state */
		if(eSysMode_StartUp == xSysMode)
		{
			/* perform homing */
		}
		else if(eSysMode_FullScan == xSysMode)
		{
		}
		else if(eSysMode_PartialScan == xSysMode)
		{
			/* first check if an abort request was received */
			if(eCMD_Abort == xMqCOMCmd.xMQ_Cmd)
			{
				xSysMode = eSysMode_Idle;
			}
			else
			{
				/* perform scanning */
				xWorkTaskResponse = xScanWork(xWorkTaskResponse, eSTMD_CW,si32StartAngle,si32StopAngle,su16SampleCount);
				if((eWork_Abort == xWorkTaskResponse) || (eWork_Done == xWorkTaskResponse))
				{
					/* error or done -> switch to idle mode */
					xSysMode = eSysMode_Idle;
				}
				else
				{
					/* keep state */
					xSysMode = eSysMode_PartialScan;
				}
			}
		}
		else if(eSysMode_ContinousScan == xSysMode)
		{
			/* first check if an abort request was received */
			if(eCMD_Abort == xMqCOMCmd.xMQ_Cmd)
			{
				xSysMode = eSysMode_Idle;
			}
			else
			{
				/* perform scanning */
				xWorkTaskResponse = xScanWork(xWorkTaskResponse, eSTMD_CW,si32StartAngle,si32StopAngle,su16SampleCount);
				if(eWork_Abort == xWorkTaskResponse)
				{
					/* error during scan => abort */
					xSysMode = eSysMode_Idle;
				}
				else if(eWork_Done == xWorkTaskResponse)
				{
					/* change turn direction */
					if(eSTMD_CW == xSTMD_Config.xSTMD_Rotation.xStepDirection)
					{
						/* first go to position 3588750 */
						xWorkTaskResponse = eWork_Started;
						/* TODO: Change form Quick'n'Dirty to good style */
						while((eWork_Done != xWorkTaskResponse) && (eWork_Abort != xWorkTaskResponse))
						{
							xWorkTaskResponse = xMoveWork(xWorkTaskResponse,3588750,eMove_IgnoreLimitSwitch);
							osDelay(5);
						}
						/* move successful ? */
						if(eWork_Done == xWorkTaskResponse)
						{
							/* and then restart */
							/* TODO: CSCAN: calculate start and stop angle according to the current angle resolution */
							si32StartAngle = 3588750;
							si32StopAngle = 11250;
							xWorkTaskResponse = eWork_Started;
						}
						else
						{
							xSysMode = eSysMode_Idle;
						}
					}
					else
					{
						/* first go to position 0 */
						xWorkTaskResponse = eWork_Started;
						/* TODO: Change form Quick'n'Dirty to good style */
						while((eWork_Done != xWorkTaskResponse) && (eWork_Abort != xWorkTaskResponse))
						{
							xWorkTaskResponse = xMoveWork(xWorkTaskResponse,0,eMove_IgnoreLimitSwitch);
							osDelay(5);
						}
						/* move successful ? */
						if(eWork_Done == xWorkTaskResponse)
						{
							/* and then restart */
							/* TODO: CSCAN: calculate start and stop angle according to the current angle resolution */
							si32StartAngle = 0;
							si32StopAngle = 3577500;
							xWorkTaskResponse = eWork_Started;
						}
						else
						{
							xSysMode = eSysMode_Idle;
						}
					}
				}
				else
				{
					/* keep state */
					xSysMode = eSysMode_ContinousScan;
				}
			}
		}
		else if(eSysMode_StaticScan == xSysMode)
		{
			if(0 == u08SampleSensorRQ)
			{
				/* request sampling */
				SensorSamplingStart();
				/* sensor sampling request successful */
				u08SampleSensorRQ = 1;

			}
			else
			{
				/* check response */
				if(0 != xQSensorToMainHandle)
				{
					/* message available ? */
					xMQRetVal = xQueueReceive(xQSensorToMainHandle, &xMqCmd, 0);
					if(pdPASS == xMQRetVal)
					{
						/* evaluate message */
						if(eCMD_SensorValueReady == xMqCmd.xMQ_Cmd)
						{
							/* print sensor value */
							Print_Sensor_Data_Value((uint32_t)xMqCmd.i32MQ_Cmd_ParamA);
							/* done successfully */
							xSysMode = eSysMode_Idle;
						}
					}
				}
			}
		}
		else if(eSysMode_MoveToAngle == xSysMode)
		{
			/* first check if an abort request was received */
			if(eCMD_Abort == xMqCOMCmd.xMQ_Cmd)
			{
				xSysMode = eSysMode_Idle;
			}
			else
			{
				xWorkTaskResponse = xMoveWork(xWorkTaskResponse, si32StopAngle, eMove_IgnoreLimitSwitch);
				if((eWork_Abort == xWorkTaskResponse) || (eWork_Done == xWorkTaskResponse))
				{
					/* error or done -> switch to idle mode */
					xSysMode = eSysMode_Idle;
				}
				else
				{
					/* keep state */
					xSysMode = eSysMode_MoveToAngle;
				}
			}
		}
		else if(eSysMode_Homing == xSysMode)
		{
			/* first check if an abort request was received */
			if(eCMD_Abort == xMqCOMCmd.xMQ_Cmd)
			{
				xSysMode = eSysMode_Idle;
			}
			else
			{
				xWorkTaskResponse = xMoveWork(xWorkTaskResponse, si32StopAngle, eMove_CheckLimitSwitch);
				if(eWork_LimitSwitchHit == xWorkTaskResponse)
				{
					/* set current position to zero */
					xSTMD_Config.xSTMD_Rotation.i32STMD_CurrentAngle = 0;
					xSysMode = eSysMode_Idle;
				}
				else if((eWork_Abort == xWorkTaskResponse) || (eWork_Done == xWorkTaskResponse))
				{
					/* error or done -> switch to idle mode */
					xSysMode = eSysMode_Idle;
				}
				else
				{
					/* keep state */
					xSysMode = eSysMode_Homing;
				}
			}
		}
		else if(eSysMode_TestMode == xSysMode)
		{
			for(uint16_t u16TestReg=0;u16TestReg < 4096;u16TestReg++)
			{
				Print_Test_Data_Value(u16TestReg);
				osDelay(5);
			}
			xSysMode = eSysMode_Idle;
		}
		else if(eSysMode_Idle == xSysMode)
		{
			/* evaluate incoming com message */
			switch (xMqCOMCmd.xMQ_Cmd) {
				case eCMD_FullScanMeasurement:
					xSysMode = eSysMode_FullScan;
					break;
				case eCMD_PartialScanMeasurement:
					/* take over parameters */
					si32StartAngle = xMqCOMCmd.i32MQ_Cmd_ParamB;
					si32StopAngle = xMqCOMCmd.i32MQ_Cmd_ParamC;
					su16SampleCount = (uint16_t)xMqCOMCmd.i32MQ_Cmd_ParamA;
					/* set state */
					xWorkTaskResponse = eWork_Started;
					/* change state */
					xSysMode = eSysMode_PartialScan;
					break;
				case eCMD_ContinousScanMeasurment:
					/* set parameters */
					/* TODO: CSCAN: calculate start and stop angle according to the current angle resolution */
					si32StartAngle = 0;
					si32StopAngle = 3577500;
					su16SampleCount = (uint16_t)xMqCOMCmd.i32MQ_Cmd_ParamA;
					/* set state */
					xWorkTaskResponse = eWork_Started;
					/* change system state */
					xSysMode = eSysMode_ContinousScan;
					break;
				case eCMD_MoveToAngle:
					si32StopAngle = xMqCOMCmd.i32MQ_Cmd_ParamA;
					xWorkTaskResponse = eWork_Started;
					xSysMode = eSysMode_MoveToAngle;
					break;
				case eCMD_StaticMeasurement:

					break;
				case eCMD_SampleSensor:
					u08SampleSensorRQ = 0;
					xSysMode = eSysMode_StaticScan;
					break;
				case eCMD_SetAngleResolution:
					xSTMD_Config.xSTMD_Rotation.i32STMD_AngleIncrement = xMqCOMCmd.i32MQ_Cmd_ParamA;
					xSysMode = eSysMode_Idle;
					break;
				case eCMD_SetStepResolution:
					if(eSTMD_StepRes_Coarse == xMqCOMCmd.i32MQ_Cmd_ParamA)
					{
						xSTMD_Config.xSTMD_Rotation.xStepResolution = eSTMD_StepRes_Coarse;
					}
					else
					{
						xSTMD_Config.xSTMD_Rotation.xStepResolution = eSTMD_StepRes_Fine;
					}
					setStepResolution(xSTMD_Config.xSTMD_Rotation.xStepResolution);
					break;
				case eCMD_PrintSTMDConfig:
					Print_Config();
					xSysMode = eSysMode_Idle;
					break;
				case eCMD_PerformHoming:
					/* preset current position */
					xSTMD_Config.xSTMD_Rotation.i32STMD_CurrentAngle = 450000;
					/* prepare move */
					si32StopAngle = 0;
					xWorkTaskResponse = eWork_Started;
					xSysMode = eSysMode_Homing;
					break;
				case eCMD_StartTestMode:
					xSysMode = eSysMode_TestMode;
					break;
				default:
					break;
			}
		}
	}
  /* USER CODE END 5 */
}

/* COMTaskWork function */
void COMTaskWork(void const * argument)
{
  /* USER CODE BEGIN COMTaskWork */
//   HAL_StatusTypeDef xRetVal = HAL_ERROR;
	uint8_t au08RxBuffer[20];
	uint8_t u08Idx;
//	volatile uint32_t u32Length;
//	volatile int8_t i08USBCDCErrCode;

	T_MQ_Command xMqCmd;

	/* Infinite loop */
	for(;;)
	{
		osDelay(100);	/* delay for 100 ms */
		/* clear buffer */
		for(u08Idx=0; u08Idx < sizeof(au08RxBuffer); u08Idx++)
		{
			au08RxBuffer[u08Idx] = 0;
		}
		/* check for incoming bytes on USB */
		if(USBD_STATE_CONFIGURED == hUsbDeviceFS.dev_state)
		{
			//i08USBCDCErrCode = CDC_Receive_FS(&au08RxBuffer[0], &u32Length);
			//if(USBD_OK == i08USBCDCErrCode)
			if(0 < received_data_size)
			{
				// copy input into command
				//for(u08Idx=0; u08Idx < sizeof(au08RxBuffer); u08Idx++)
				u08Idx = 0;
				while((received_data_size--) && (100 > u08Idx))
				{
					if('\r' == received_data[u08Idx])
					{
						xUartRxCmd.u08CommandReceived = 1;
						break;
					}
					else if(0 == received_data[u08Idx])
					{
						/* all received bytes processed */
						break;
					}
					else if ('\n' != received_data[u08Idx])	/* ignore new line character */
					{
						/* copy if still space left */
						if (0 < xUartRxCmd.u08FreeBytes)
						{
							xUartRxCmd.au08CommandBuffer[xUartRxCmd.u08WriteIdx++] = received_data[u08Idx];
							xUartRxCmd.u08FreeBytes--;
						}
						else
						{
							/* ERR -> flush */
							FlushRxCmd();
						}
						xUartRxCmd.u08CommandReceived = 0;
					}
					u08Idx++;
				}
			}
			//else if(HAL_ERROR == xRetVal)
			else
			{

			}
			/*else if(HAL_TIMEOUT == xRetVal)
			{

			}*/
		}

		//TODO: [main] es muss noch der USB buffer geflusht werden

		if(1 == xUartRxCmd.u08CommandReceived)
		{
			xMqCmd = AnalyseRxCmd();
			FlushRxCmd();

			/* check if a valid command was received */
			if(eCMD_None != xMqCmd.xMQ_Cmd)
			{
				/* inform main task about new command */
				if(0 != xQCOMToMainHandle)
				{
					xQueueSendToBack(xQCOMToMainHandle,&xMqCmd,0);
				}
			}

		}
	}
  /* USER CODE END COMTaskWork */
}

/* SMTDWork function */
void SMTDWork(void const * argument)
{
  /* USER CODE BEGIN SMTDWork */
	T_MQ_Command xMqCommand;
	T_WorkStates xSTMDWorkState = eWork_Idle;
	int32_t i32TargetAngle = 0;
	/* for readability */
	T_STMD_Rotation * pxRotation = &xSTMD_Config.xSTMD_Rotation;
	T_Move_LimitSwitch xLimitSwitchBehaviour = eMove_IgnoreLimitSwitch;
	T_WorkStates xSteppingRetVal = eWork_Idle;

	volatile int32_t i32StepCount;

  /* Infinite loop */
  for(;;)
  {
    osDelay(25);
    /* preload in case of no message */
    xMqCommand.xMQ_Cmd = eCMD_None;
    /* new message available ? */
    if(0 != xQMainToSTMDHandle)
    {
    	xQueueReceive(xQMainToSTMDHandle,&xMqCommand,0);
    }

    /* work depending on state */
    switch (xSTMDWorkState) {
		case eWork_Idle:
			/* process any incoming command */
			if(eCMD_MoveToAngle == xMqCommand.xMQ_Cmd)
			{
				/* evaluate parameters */
				/* take over */
				i32TargetAngle = xMqCommand.i32MQ_Cmd_ParamA;
				xLimitSwitchBehaviour = xMqCommand.i32MQ_Cmd_ParamB;
				/* check, if moving is necessary */
				if(i32TargetAngle != pxRotation->i32STMD_CurrentAngle)
				{
					/* choose in which direction to step */
					if(i32TargetAngle > pxRotation->i32STMD_CurrentAngle)
					{
						pxRotation->xStepDirection = eSTMD_CW;
						/* calculate amount of steps needed to reach target */
						i32StepCount = (i32TargetAngle - pxRotation->i32STMD_CurrentAngle)/pxRotation->i32STMD_StepIncrement;
					}
					else if(i32TargetAngle < pxRotation->i32STMD_CurrentAngle)
					{
						pxRotation->xStepDirection = eSTMD_CCW;
						/* calculate amount of steps needed to reach target */
						i32StepCount = (pxRotation->i32STMD_CurrentAngle - i32TargetAngle)/pxRotation->i32STMD_StepIncrement;
					}
					/* and start moving */
					xSTMDWorkState = eWork_Moving;
				}
				else
				{
					/* already at the given position */
					xSTMDWorkState = eWork_Done;
				}
			}
			break;
		case eWork_Moving:
			/* first check if there is an abort request */
			if(eCMD_Abort != xMqCommand.xMQ_Cmd)
			{
				/* perform stepping */
				if(0 != i32StepCount)
				{
					//xSteppingRetVal = xSTMD_PerformStepping(pxRotation->xStepDirection, i32StepCount, eMove_IgnoreLimitSwitch);
					xSteppingRetVal = xSTMD_PerformStepping(pxRotation->xStepDirection, i32StepCount, xLimitSwitchBehaviour);
					if(eWork_Done == xSteppingRetVal )
					{
						/* reached position */
						xSTMDWorkState = eWork_Done;
					}
					else if(eWork_LimitSwitchHit == xSteppingRetVal)
					{
						/* do something */
						xSTMDWorkState = eWork_LimitSwitchHit;
					}
					else
					{
						xSTMDWorkState = eWork_Abort;
					}
				}
			}
			else
			{
				xSTMDWorkState = eWork_Abort;
			}
			break;
		case eWork_Done:
			/* inform main task */
			if(0 != xQSTMDToMainHandle)
			{
				xMqCommand.xMQ_Cmd = eCMD_Accepted;
				xQueueSendToBack(xQSTMDToMainHandle,&xMqCommand,0);
			}
			xSTMDWorkState = eWork_Idle;
			break;
		case eWork_Abort:
			/* inform main task */
			if(0 != xQSTMDToMainHandle)
			{
				xMqCommand.xMQ_Cmd = eCMD_Rejected;
				xQueueSendToBack(xQSTMDToMainHandle,&xMqCommand,0);
			}
			xSTMDWorkState = eWork_Idle;
			break;
		case eWork_LimitSwitchHit:
			/* inform main task */
			if(0 != xQSTMDToMainHandle)
			{
				xMqCommand.xMQ_Cmd = eCMD_LimitSwitchHit;
				xQueueSendToBack(xQSTMDToMainHandle,&xMqCommand,0);
			}
			xSTMDWorkState = eWork_Idle;
			break;
		default:
			break;
	}
    /* */
  }
  /* USER CODE END SMTDWork */
}

void HAL_TIM_PeriodElapsedCallback(TIM_HandleTypeDef *htim)
{
  if (htim->Instance == TIM1) {
    HAL_IncTick();
  }
}

void _Error_Handler(char *file, int line)
{
  while(1)
  {
  }
}

/************************ (C) COPYRIGHT STMicroelectronics *****END OF FILE****/
